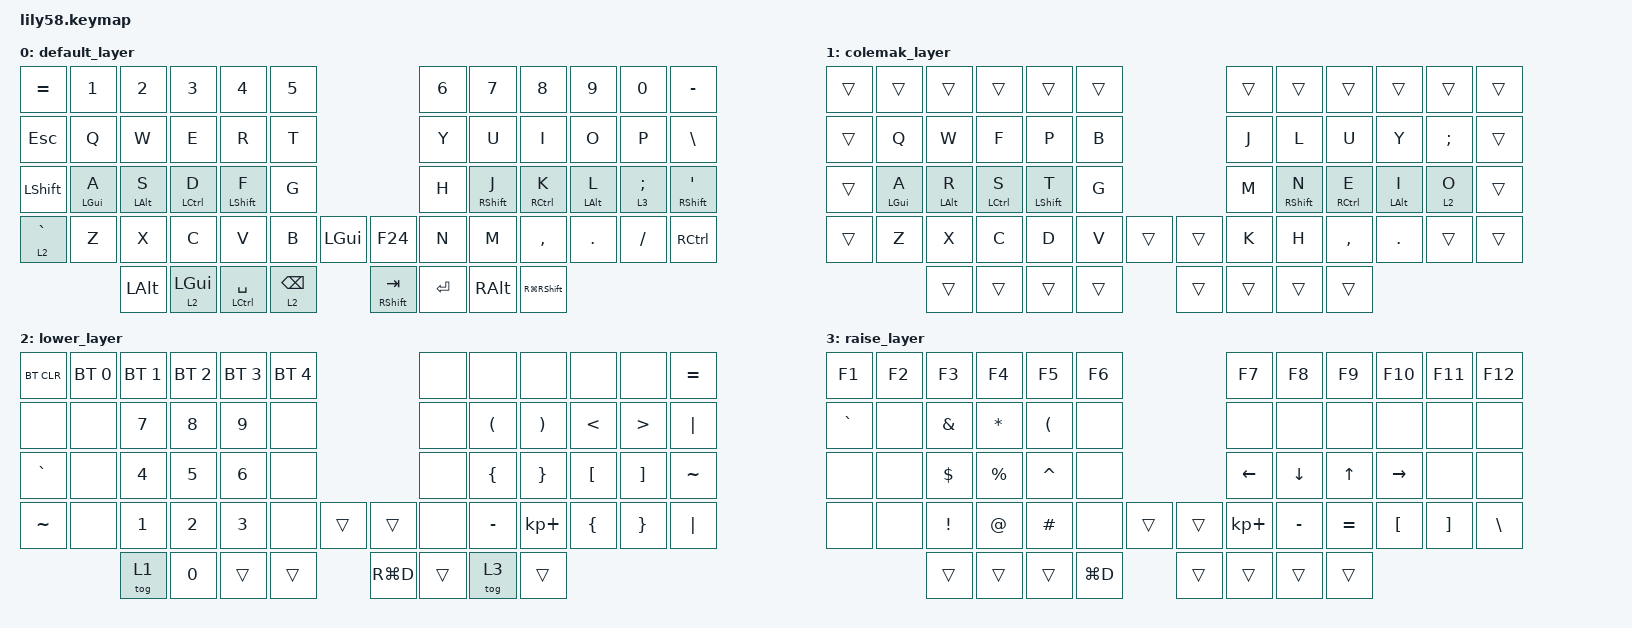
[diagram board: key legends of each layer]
/*
 * Copyright (c) 2020 The ZMK Contributors
 *
 * SPDX-License-Identifier: MIT
 */

#include <behaviors.dtsi>
#include <dt-bindings/zmk/keys.h>
#include <dt-bindings/zmk/bt.h>
#include <dt-bindings/zmk/ext_power.h>

&lt {
	quick-tap-ms = <300>;
};

/ {

	behaviors {
		sp: space_modtap {
			compatible = "zmk,behavior-hold-tap";
			label = "SPACE_MODTAP";
			#binding-cells = <2>;
			tapping-term-ms = <400>;
			quick_tap_ms = <0>;
			flavor = "tap-preferred";
			bindings = <&kp>, <&kp>;
        };

        hm: homerow_mods {
            compatible = "zmk,behavior-hold-tap";
            label = "homerow mods";
            #binding-cells = <2>;
            tapping_term_ms = <200>;
            flavor = "tap-preferred";
            bindings = <&kp>, <&kp>;
        };
    };

	combos {
		compatible = "zmk,combos";
		combo_esc {
			timeout-ms = <50>;
			key-positions = <0 1>;
			bindings = <&kp ESC>;
		};
		combo_thumbs {
			timeout-ms = <50>;
			key-positions = <54 55>;
			bindings = <&kp LG(D)>;
		};
		combo_colemak {
        	timeout-ms = <50>;
        	key-positions = <51 58>;
        	bindings = <&tog 1>;
        };
	};

	keymap {
		compatible = "zmk,keymap";

		default_layer {
			bindings = <
&kp EQUAL       &kp N1            &kp N2              &kp N3             &kp N4          &kp N5                                &kp N6          &kp N7          &kp N8        &kp N9          &kp N0          &kp MINUS
&kp ESC         &kp Q             &kp W               &kp E              &kp R           &kp T                                 &kp Y           &kp U           &kp I         &kp O           &kp P           &kp BSLH
&kp LSHFT       &hm LGUI A        &hm LALT S          &hm LCTRL D        &hm LSHFT F     &kp G                                 &kp H           &hm RSHFT J     &hm RCTRL K   &hm LALT L      &lt 3 SEMI      &mt RSHFT SQT
&lt 2 GRAVE     &kp Z             &kp X               &kp C              &kp V           &kp B   &kp LGUI       &kp F24        &kp N           &kp M           &kp COMMA     &kp DOT         &kp FSLH        &kp RCTRL
                                          &kp LALT           &lt 2 LGUI     &sp LCTRL SPACE      &lt 2 BSPC     &mt RSHFT TAB         &kp RET        &kp RALT       &kp RG(RSHFT)
			>;
		};

		colemak_layer {
			bindings = <
&trans          &trans            &trans              &trans             &trans          &trans                                &trans          &trans          &trans        &trans          &trans          &trans
&trans          &kp Q             &kp W               &kp F              &kp P           &kp B                                 &kp J           &kp L           &kp U         &kp Y           &kp SEMI        &trans
&trans          &hm LGUI A        &hm LALT R          &hm LCTRL S        &hm LSHFT T     &kp G                                 &kp M           &hm RSHFT N     &hm RCTRL E   &hm LALT I      &lt 2 O         &trans
&trans          &kp Z             &kp X               &kp C              &kp D           &kp V   &trans         &trans         &kp K           &kp H           &kp COMMA     &kp DOT         &trans          &trans
                                            &trans               &trans         &trans           &trans         &trans               &trans           &trans         &trans
			>;
		};

		lower_layer {
			bindings = <
&bt BT_CLR      &bt BT_SEL 0      &bt BT_SEL 1        &bt BT_SEL 2        &bt BT_SEL 3   &bt BT_SEL 4                          &none           &none            &none         &none          &none           &kp EQUAL
&none           &none             &kp N7              &kp N8              &kp N9         &none                                 &none           &kp LPAR         &kp RPAR      &kp LT         &kp GT          &kp PIPE
&kp GRAVE       &none             &kp N4              &kp N5              &kp N6         &none                                 &none           &kp LBRC         &kp RBRC      &kp LBKT       &kp RBKT        &kp TILDE
&kp TILDE       &none             &kp N1              &kp N2              &kp N3         &none        &trans     &trans        &none           &kp MINUS        &kp KP_PLUS   &kp LBRC       &kp RBRC        &kp PIPE
                                               &tog 1            &kp N0            &trans             &trans     &kp RG(D)            &trans             &tog 3          &trans
			>;
		};

		raise_layer {
			bindings = <
&kp F1           &kp F2            &kp F3               &kp F4             &kp F5          &kp F6                              &kp F7          &kp F8           &kp F9        &kp F10        &kp F11         &kp F12
&kp GRAVE        &none             &kp AMPERSAND        &kp ASTERISK       &kp LPAR        &none                               &none           &none            &none         &none          &none           &none
&none            &none             &kp DOLLAR           &kp PERCENT        &kp CARET       &none                               &kp LEFT        &kp DOWN         &kp UP        &kp RIGHT      &none           &none
&none            &none             &kp EXCL             &kp AT             &kp HASH        &none    &trans        &trans       &kp KP_PLUS     &kp MINUS        &kp EQUAL     &kp LBKT       &kp RBKT        &kp BSLH
                                             &trans               &trans          &trans            &kp LG(D)     &trans                &trans          &trans          &trans
			>;
		};
     };
};
